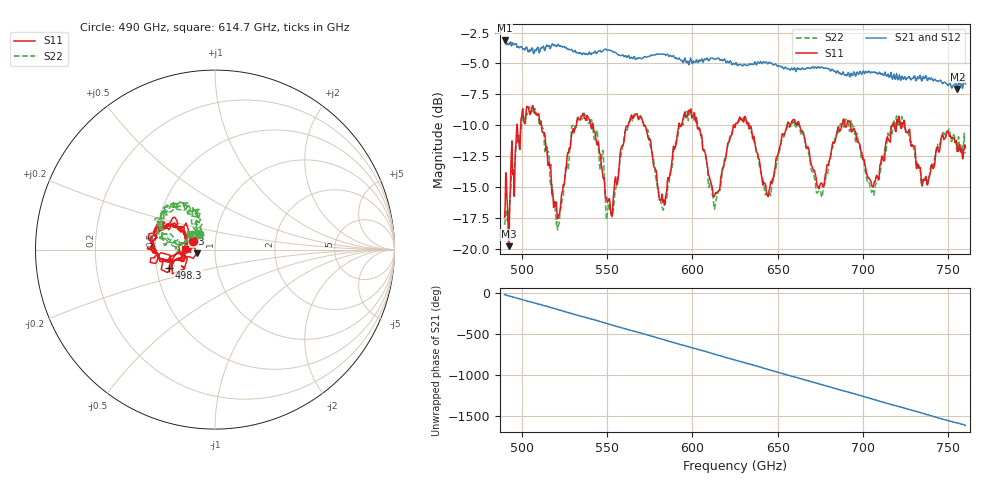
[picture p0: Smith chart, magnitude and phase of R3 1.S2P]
! Python used to change reference impedance from 50 to 1.
# Hz S RI R 1
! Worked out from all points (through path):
!   811 points, 490 GHz to 760 GHz, reference 1 ohm
!   highest |S21| = -3.14 dB at 490 GHz (marker M1); lowest = -7.1 dB at 755.3 GHz (marker M2)
!   group delay of S21, straight-line fit = 16.4 ps
!   lowest |S11| = -19.8 dB at 492.3 GHz (marker M3), VSWR 1.23, Z = 0.817 - j0.0337 ohm
!   |S11| at or under -10 dB: 662.8 GHz to 687.6 GHz (24.85 GHz wide, 3.68 % of centre); 692.7 GHz to 717.2 GHz (24.47 GHz wide, 3.47 % of centre); 724.5 GHz to end of sweep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
!   |S22| runs from -18.6 to -8.5 dB; largest |S21 - S12| = 0.14
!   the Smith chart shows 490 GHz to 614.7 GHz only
!   S11 on the Smith chart (normalised r, x): 490 GHz: 0.77, +0.08; 498.3 GHz: 0.58, -0.13; 614.7 GHz: 0.71, +0.01
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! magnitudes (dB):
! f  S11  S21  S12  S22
! 490 GHz  -17.5  -3.1  -3.2  -18.1
! 492.3 GHz  -19.8  -3.5  -3.2  -18.6
! 498.3 GHz  -11.2  -3.7  -3.6  -11.0
! 508.7 GHz  -9.1  -3.9  -3.8  -9.0
! 521.3 GHz  -17.5  -3.5  -3.5  -18.3
! 535 GHz  -9.2  -4.2  -4.2  -9.5
! 550.7 GHz  -16.1  -3.9  -3.9  -16.7
! 566.7 GHz  -9.1  -4.7  -4.7  -9.1
! 580 GHz  -15.2  -4.2  -4.2  -15.4
! 599.3 GHz  -9.1  -4.7  -4.7  -8.7
! 614.7 GHz  -15.4  -4.6  -4.6  -15.7
! 625 GHz  -10.2  -5.1  -5.0  -10.0
! 643.7 GHz  -15.6  -5.0  -4.9  -15.5
! 658.7 GHz  -9.6  -5.4  -5.4  -9.8
! 670 GHz  -13.3  -5.3  -5.3  -13.7
! 675.7 GHz  -14.7  -5.3  -5.3  -15.8
! 690.3 GHz  -10.1  -6.0  -6.0  -9.6
! 705.7 GHz  -15.0  -5.7  -5.7  -15.3
! 715 GHz  -11.2  -6.0  -6.0  -10.7
! 736.7 GHz  -14.2  -6.0  -6.0  -14.1
! 755.3 GHz  -12.1  -7.1  -7.0  -12.1
! 760 GHz  -11.8  -6.7  -6.7  -12.3
